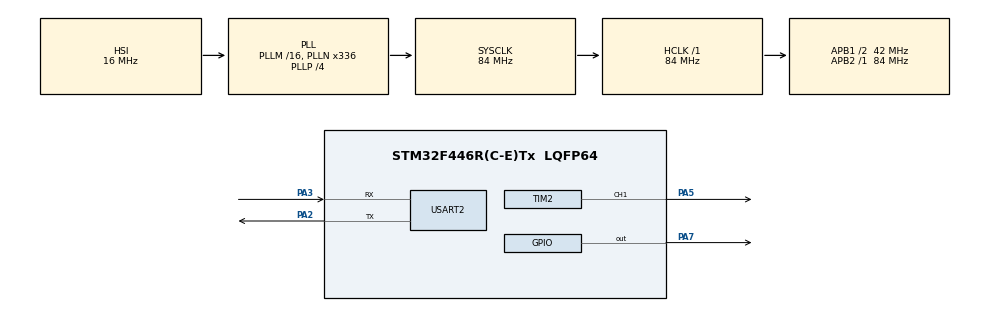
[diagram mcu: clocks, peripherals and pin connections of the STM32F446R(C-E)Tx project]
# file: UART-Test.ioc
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Mcu.Family=STM32F4
Mcu.Name=STM32F446R(C-E)Tx
Mcu.Package=LQFP64
NVIC.PriorityGroup=NVIC_PRIORITYGROUP_0
NVIC.USART2_IRQn=true\:0\:0\:false\:false\:true\:true\:true\:true
PA13.Mode=Trace_Asynchronous_SW
PA13.Signal=SYS_JTMS-SWDIO
PA14.Mode=Trace_Asynchronous_SW
PA14.Signal=SYS_JTCK-SWCLK
PA2.Mode=Asynchronous
PA2.Signal=USART2_TX
PA3.Mode=Asynchronous
PA3.Signal=USART2_RX
PA5.Signal=S_TIM2_CH1_ETR
PA7.Signal=GPIO_Output
PB3.Mode=Trace_Asynchronous_SW
PB3.Signal=SYS_JTDO-SWO
ProjectManager.HeapSize=0x200
ProjectManager.StackSize=0x400
ProjectManager.TargetToolchain=STM32CubeIDE
RCC.48MHZClocksFreq_Value=84000000
RCC.AHBFreq_Value=84000000
RCC.APB1CLKDivider=RCC_HCLK_DIV2
RCC.APB1Freq_Value=42000000
RCC.APB1TimFreq_Value=84000000
RCC.APB2Freq_Value=84000000
RCC.APB2TimFreq_Value=84000000
RCC.CortexFreq_Value=84000000
RCC.FLatency-AdvancedSettings=FLASH_LATENCY_2
RCC.HCLKFreq_Value=84000000
RCC.HSE_VALUE=8000000
RCC.HSI_VALUE=16000000
RCC.PLLN=336
RCC.PLLP=RCC_PLLP_DIV4
RCC.SYSCLKFreq_VALUE=84000000
RCC.SYSCLKSource=RCC_SYSCLKSOURCE_PLLCLK
RCC.USBFreq_Value=168000000
RCC.VCOOutputFreq_Value=336000000
SH.S_TIM2_CH1_ETR.0=TIM2_CH1,PWM Generation1 CH1
TIM2.Channel-PWM\ Generation1\ CH1=TIM_CHANNEL_1
TIM2.Period=255
USART2.VirtualMode=VM_ASYNC
board=NUCLEO-F446RE

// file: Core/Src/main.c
/* USER CODE BEGIN Header */
/**
  ******************************************************************************
  * @file           : main.c
  * @brief          : Main program body
  ******************************************************************************
  * @attention
  *
  * Copyright (c) 2024 STMicroelectronics.
  * All rights reserved.
  *
  * This software is licensed under terms that can be found in the LICENSE file
  * in the root directory of this software component.
  * If no LICENSE file comes with this software, it is provided AS-IS.
  *
  ******************************************************************************
  */
/* USER CODE END Header */
#include "main.h"

TIM_HandleTypeDef htim2;

UART_HandleTypeDef huart2;

/* USER CODE BEGIN PV */
uint8_t tx_buffer[27] = "Testing LED on\n\r";
uint8_t tx_bufferalt[27] = "Testing LED off \n\r";
uint8_t tx_bufferfinal[27] = "Testing brightness \n\r";
uint8_t rx_index;
uint8_t rx_data[2];
uint8_t rx_buffer[100];
int rx_pwmval;
uint8_t transfer_cplt;
/* USER CODE END PV */

void SystemClock_Config(void);
static void MX_GPIO_Init(void);
static void MX_USART2_UART_Init(void);
static void MX_TIM2_Init(void);

/* USER CODE BEGIN 0 */
void TEST_LED_BRIGHTNESS(void){
	TIM2->CCR1 = 500; // Divide by 1000 to get PWM Duty Cycle
	HAL_TIM_PWM_Start(&htim2, TIM_CHANNEL_1);
	//HAL_GPIO_WritePin(GPIOA, GPIO_PIN_7, GPIO_PIN_SET); //CHECK YOUR PIN CONFIGS
	// MAYBE TRY DOING THE GPIO WRITE PIN AFTER __HAL_TIM_SET...
	// ALSO TRY JUST GETTING ONE FEATURE TO WORK INSTEAD OF BOTH ON-OFF, AND NUMBER INPUT
	rx_pwmval = atoi(rx_buffer);
	__HAL_TIM_SET_COMPARE(&htim2, TIM_CHANNEL_1, rx_pwmval);
	HAL_GPIO_WritePin(GPIOA, GPIO_PIN_7, GPIO_PIN_SET);
}

void TURN_PWM(int val){
	TIM2->CCR1 = 500; // Divide by 1000 to get PWM Duty Cycle

	switch(val){
		case 0:
			HAL_TIM_PWM_Stop(&htim2, TIM_CHANNEL_1);
			//HAL_GPIO_WritePin(GPIOA, GPIO_PIN_7, GPIO_PIN_RESET);
			__HAL_TIM_SET_COMPARE(&htim2, TIM_CHANNEL_1, 0);
			HAL_GPIO_WritePin(GPIOA, GPIO_PIN_7, GPIO_PIN_RESET);
	        break;

	    case 1:
	    	HAL_TIM_PWM_Start(&htim2, TIM_CHANNEL_1);
	    	//HAL_GPIO_WritePin(GPIOA, GPIO_PIN_7, GPIO_PIN_SET);
	    	__HAL_TIM_SET_COMPARE(&htim2, TIM_CHANNEL_1, 255);
	    	HAL_GPIO_WritePin(GPIOA, GPIO_PIN_7, GPIO_PIN_SET);
	        break;
	}
	//HAL_Delay(10);
	//HAL_UART_Transmit(&huart2, tx_buffer, 27, 10);
	//HAL_Delay(1000);
	/*
	for(int j=0; j<255; j++){
		 __HAL_TIM_SET_COMPARE(&htim2, TIM_CHANNEL_1, j);
		 HAL_Delay(5);
	}
	for(int j=255; j>0; j--){
		 __HAL_TIM_SET_COMPARE(&htim2, TIM_CHANNEL_1, j);
		 HAL_Delay(5);
	}*/
}

/* USER CODE END 0 */

int main(void)
{

  /* MCU Configuration--------------------------------------------------------*/

  /* Reset of all peripherals, Initializes the Flash interface and the Systick. */
  HAL_Init();

  /* Configure the system clock */
  SystemClock_Config();

  /* Initialize all configured peripherals */
  MX_GPIO_Init();
  MX_USART2_UART_Init();
  MX_TIM2_Init();
  /* USER CODE BEGIN 2 */
  HAL_UART_Receive_IT(&huart2, rx_data, 1); //global interrupt when byte recieved
  /* USER CODE END 2 */

  /* Infinite loop */
  while (1)
  {

    /* USER CODE BEGIN 3 */

//	  HAL_UART_Transmit(&huart2, rx_buffer, 27, 10);
//	  HAL_Delay(1000);
  }
  /* USER CODE END 3 */
}

void SystemClock_Config(void)
{
  RCC_OscInitTypeDef RCC_OscInitStruct = {0};
  RCC_ClkInitTypeDef RCC_ClkInitStruct = {0};

  /** Configure the main internal regulator output voltage
  */
  __HAL_RCC_PWR_CLK_ENABLE();
  __HAL_PWR_VOLTAGESCALING_CONFIG(PWR_REGULATOR_VOLTAGE_SCALE3);

  /** Initializes the RCC Oscillators according to the specified parameters
  * in the RCC_OscInitTypeDef structure.
  */
  RCC_OscInitStruct.OscillatorType = RCC_OSCILLATORTYPE_HSI;
  RCC_OscInitStruct.HSIState = RCC_HSI_ON;
  RCC_OscInitStruct.HSICalibrationValue = RCC_HSICALIBRATION_DEFAULT;
  RCC_OscInitStruct.PLL.PLLState = RCC_PLL_ON;
  RCC_OscInitStruct.PLL.PLLSource = RCC_PLLSOURCE_HSI;
  RCC_OscInitStruct.PLL.PLLM = 16;
  RCC_OscInitStruct.PLL.PLLN = 336;
  RCC_OscInitStruct.PLL.PLLP = RCC_PLLP_DIV4;
  RCC_OscInitStruct.PLL.PLLQ = 2;
  RCC_OscInitStruct.PLL.PLLR = 2;
  if (HAL_RCC_OscConfig(&RCC_OscInitStruct) != HAL_OK)
  {
    Error_Handler();
  }

  /** Initializes the CPU, AHB and APB buses clocks
  */
  RCC_ClkInitStruct.ClockType = RCC_CLOCKTYPE_HCLK|RCC_CLOCKTYPE_SYSCLK
                              |RCC_CLOCKTYPE_PCLK1|RCC_CLOCKTYPE_PCLK2;
  RCC_ClkInitStruct.SYSCLKSource = RCC_SYSCLKSOURCE_PLLCLK;
  RCC_ClkInitStruct.AHBCLKDivider = RCC_SYSCLK_DIV1;
  RCC_ClkInitStruct.APB1CLKDivider = RCC_HCLK_DIV2;
  RCC_ClkInitStruct.APB2CLKDivider = RCC_HCLK_DIV1;

  if (HAL_RCC_ClockConfig(&RCC_ClkInitStruct, FLASH_LATENCY_2) != HAL_OK)
  {
    Error_Handler();
  }
}

static void MX_TIM2_Init(void)
{

  TIM_MasterConfigTypeDef sMasterConfig = {0};
  TIM_OC_InitTypeDef sConfigOC = {0};

  htim2.Instance = TIM2;
  htim2.Init.Prescaler = 0;
  htim2.Init.CounterMode = TIM_COUNTERMODE_UP;
  htim2.Init.Period = 255;
  htim2.Init.ClockDivision = TIM_CLOCKDIVISION_DIV1;
  htim2.Init.AutoReloadPreload = TIM_AUTORELOAD_PRELOAD_DISABLE;
  if (HAL_TIM_PWM_Init(&htim2) != HAL_OK)
  {
    Error_Handler();
  }
  sMasterConfig.MasterOutputTrigger = TIM_TRGO_RESET;
  sMasterConfig.MasterSlaveMode = TIM_MASTERSLAVEMODE_DISABLE;
  if (HAL_TIMEx_MasterConfigSynchronization(&htim2, &sMasterConfig) != HAL_OK)
  {
    Error_Handler();
  }
  sConfigOC.OCMode = TIM_OCMODE_PWM1;
  sConfigOC.Pulse = 0;
  sConfigOC.OCPolarity = TIM_OCPOLARITY_HIGH;
  sConfigOC.OCFastMode = TIM_OCFAST_DISABLE;
  if (HAL_TIM_PWM_ConfigChannel(&htim2, &sConfigOC, TIM_CHANNEL_1) != HAL_OK)
  {
    Error_Handler();
  }
  HAL_TIM_MspPostInit(&htim2);

}

static void MX_USART2_UART_Init(void)
{

  huart2.Instance = USART2;
  huart2.Init.BaudRate = 115200;
  huart2.Init.WordLength = UART_WORDLENGTH_8B;
  huart2.Init.StopBits = UART_STOPBITS_1;
  huart2.Init.Parity = UART_PARITY_NONE;
  huart2.Init.Mode = UART_MODE_TX_RX;
  huart2.Init.HwFlowCtl = UART_HWCONTROL_NONE;
  huart2.Init.OverSampling = UART_OVERSAMPLING_16;
  if (HAL_UART_Init(&huart2) != HAL_OK)
  {
    Error_Handler();
  }

}

static void MX_GPIO_Init(void)
{
  GPIO_InitTypeDef GPIO_InitStruct = {0};

  /* GPIO Ports Clock Enable */
  __HAL_RCC_GPIOA_CLK_ENABLE();
  __HAL_RCC_GPIOB_CLK_ENABLE();

  /*Configure GPIO pin Output Level */
  HAL_GPIO_WritePin(GPIOA, GPIO_PIN_7, GPIO_PIN_RESET);

  /*Configure GPIO pin : PA7 */
  GPIO_InitStruct.Pin = GPIO_PIN_7;
  GPIO_InitStruct.Mode = GPIO_MODE_OUTPUT_PP;
  GPIO_InitStruct.Pull = GPIO_NOPULL;
  GPIO_InitStruct.Speed = GPIO_SPEED_FREQ_LOW;
  HAL_GPIO_Init(GPIOA, &GPIO_InitStruct);

}

/* USER CODE BEGIN 4 */

void HAL_UART_RxCpltCallback(UART_HandleTypeDef *huart)
{
  /* Prevent unused argument(s) compilation warning */
  UNUSED(huart);
  /* NOTE: This function should not be modified, when the callback is needed,
           the HAL_UART_TxCpltCallback could be implemented in the user file
   */
  uint8_t i;
  if (huart->Instance == USART2){
	  if(rx_index == 0){
		  for(i=0;i<100;i++){
			  rx_buffer[i]= 0;
			  HAL_GPIO_WritePin(GPIOA, GPIO_PIN_7, GPIO_PIN_RESET);
		  }
	  }
	  if (rx_data[0] != 13){
		  rx_buffer[rx_index++] = rx_data[0];
	  }
	  else{
		  rx_index = 0;
		  transfer_cplt = 1;
		  HAL_UART_Transmit(&huart2, "\n\r", 2,100);
		  if(!strcmp(rx_buffer, "LED ON")){ //checking if input buffer indicates to turn LED on
			  TURN_PWM(1);
			  HAL_UART_Transmit(&huart2, tx_buffer, 27, 10);
			  //HAL_TIM_PWM_Start(&htim2, TIM_CHANNEL_1);
			  //HAL_GPIO_WritePin(GPIOA, GPIO_PIN_5, GPIO_PIN_SET);
			  //ADD IN CODE FOR PWM HERE
		  }
		  if(!strcmp(rx_buffer, "LED OFF")){ //checking if input buffer indicates to turn LED on
		  	 TURN_PWM(0);
		  	 HAL_UART_Transmit(&huart2, tx_bufferalt, 27, 10);
		  			  //HAL_TIM_PWM_Start(&htim2, TIM_CHANNEL_1);
		  			  //HAL_GPIO_WritePin(GPIOA, GPIO_PIN_5, GPIO_PIN_SET);
		  			  //ADD IN CODE FOR PWM HERE
		  }
		  if (strlen(rx_buffer) <= 3){
			 TEST_LED_BRIGHTNESS();
			 HAL_UART_Transmit(&huart2, tx_bufferfinal, 27, 10);

		  }

	  }

	  HAL_UART_Receive_IT(&huart2, rx_data, 1);
	  HAL_UART_Transmit(&huart2, rx_data, strlen(rx_data), 100);
  }
//  HAL_UART_Transmit(&huart2, rx_data, 6, 10);
}

/* USER CODE END 4 */

void Error_Handler(void)
{
  __disable_irq();
  while (1)
  {
  }
}
